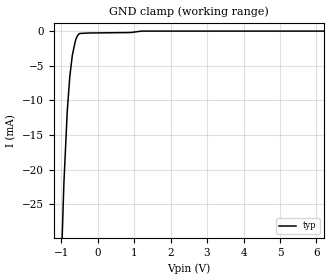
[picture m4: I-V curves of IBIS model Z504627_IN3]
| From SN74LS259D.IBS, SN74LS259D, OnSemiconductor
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| (C) COPYRIGHT 1993-2000
| MENTOR GRAPHICS CORPORATION
| ICX STANDARD LIBRARY, ICX PROJECT MODELING,
| ICX CUSTOM MODELING, ICX VENDOR MODEL
| ALL RIGHTS RESERVED.
| THE FOLLOWING ARE TRADEMARKS OR SERVICE MARKS OF
| MENTOR GRAPHICS CORPORATION:ICX (R), ICX STANDARD
| LIBRARY(R), ICX PROJECT MODELING(R), ICX CUSTOM
| MODELING(R), qualityIBIS(TM), MODELVIEWER(TM),
| AND MODELEDITOR(TM)
| ALL COPIES OF SOFTWARE, INCLUDING BUT NOT LIMITED TO
| ANY MODIFICATIONS, ENHANCEMENTS OR DERIVATIVE WORKS,
| MUST CONTAIN ALL MENTOR GRAPHICS CORPORATION'S
| NOTICES AND LEGENDS, INCLUDING THOSE EMBEDDED IN
| SOFTWARE AND THOSE AFFIXED TO SOFTWARE MEDIUM
| AND CONTAINER, AS RECEIVED FROM MENTOR GRAPHICS
| CORPORATION.
| Model Application Version 1.89 2/18/99.
[Model] Z504627_IN3
Model_type Input
Vinl = 800.0mV
Vinh = 2.000V
C_comp 4.000pF NA NA
| variable typ   min   max
[Voltage Range] 5.000V NA NA
[GND Clamp Reference] 0.000V NA NA
[POWER Clamp Reference] 5.000V NA NA
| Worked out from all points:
|   GND clamp passes 1 mA (typ) near -0.58 V on its own axis
[GND Clamp]
-5V       -701.1mA   NA         NA
-924.8mV  -22.08mA   NA         NA
-832.3mV  -11.59mA   NA         NA
-761.7mV  -6.564mA   NA         NA
-693.6mV  -3.525mA   NA         NA
-613.9mV  -1.523mA   NA         NA
-580.6mV  -965.6uA   NA         NA
-527.2mV  -478.2uA   NA         NA
-483.4mV  -345.1uA   NA         NA
908.2mV   -212.1uA   NA         NA
1.208V    -2.653uA   NA         NA
10V       -2.653uA   NA         NA
[POWER Clamp]
-5V       0A         NA         NA
10V       0A         NA         NA
